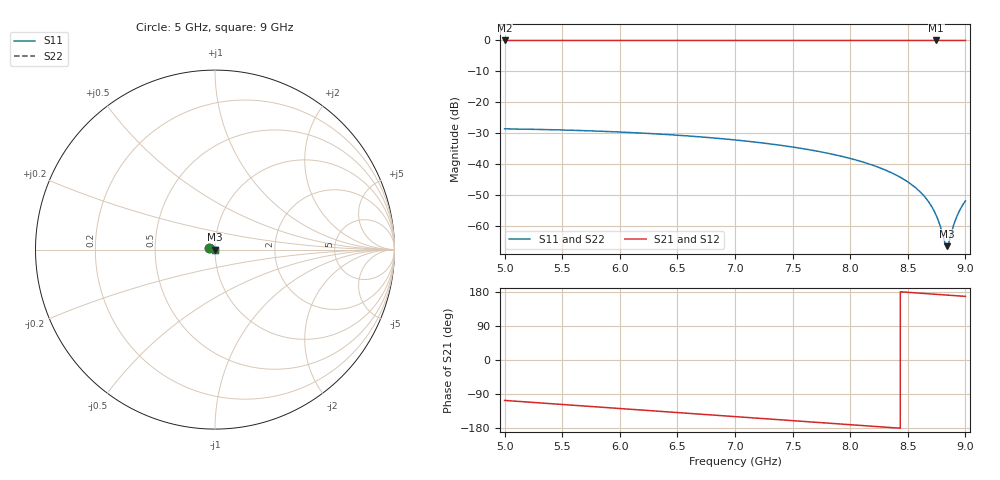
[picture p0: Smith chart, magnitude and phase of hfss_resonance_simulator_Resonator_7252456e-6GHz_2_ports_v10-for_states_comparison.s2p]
! Touchstone file exported from HFSS 2024.1.0
!  File:  C:/Users/phobo/Documents/Ansoft/hfss_resonance_simulator.aedt
!  Generated:  07:36:15 AM May 30, 2025
!  Design:  Resonator_7252456e-6GHz_2_ports_v10
!  Project:  hfss_resonance_simulator
!  Setup:  Setup1
!  Solution:  Sweep
# GHz S MA R 50.000000
! Terminal data exported
! Port[1] = 1
! Port[2] = 2
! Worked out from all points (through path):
!   5001 points, 5 GHz to 9 GHz, reference 50 ohm
!   highest |S21| = 0.00 dB at 8.747 GHz (marker M1); lowest = 0.0 dB at 5 GHz (marker M2)
!   group delay of S21, straight-line fit = 59.3 ps
!   lowest |S11| = -66.5 dB at 8.838 GHz (marker M3), VSWR 1.00, Z = 50 - j0.00704 ohm
!   |S11| at or under -10 dB: start of sweep to end of sweep
!   |S22| runs from -66.1 to -28.6 dB; largest |S21 - S12| = 3e-09
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5  0.03721 162.8  0.9993 -106.7  0.9993 -106.7  0.03721 163.9
! Gamma 0 0 0 0
! Port Impedance 50 0 50 0
5.6672  0.03495 148.4  0.9994 -120.9  0.9994 -120.9  0.03494 149.8
6.3336  0.03073 134.0  0.9995 -135.1  0.9995 -135.1  0.03074 135.8
7  0.02464 119.5  0.9997 -149.4  0.9997 -149.4  0.02464 121.8
7.3568  0.02065 111.6  0.9998 -157.0  0.9998 -157.0  0.02065 114.4
7.6672  0.01682 104.7  0.9999 -163.6  0.9999 -163.6  0.01682 108.1
8.0448  0.01175 95.8  0.9999 -171.7  0.9999 -171.7  0.01175 100.8
8.3336  0.007622 88.4  1 -177.8  1 -177.8  0.00763 96.1
8.4784  0.005488 83.9  1 179.1  1 179.1  0.005499 94.5
8.5928  0.00378 79.2  1 176.6  1 176.6  0.003794 94.4
8.6808  0.002462 73.5  1 174.7  1 174.7  0.002478 96.6
8.7168  0.001926 69.6  1 174.0  1 174.0  0.001943 99.1
8.7472  0.00148 64.5  1 173.3  1 173.3  0.001498 103.0
8.7776  0.001049 55.7  1 172.7  1 172.7  0.001069 110.6
8.82  0.0005517 22.7  1 171.8  1 171.8  0.0005753 141.2
8.8384  0.0004721 -8.6  1 171.4  1 171.4  0.0004931 170.4
8.848  0.000494 -26.2  1 171.2  1 171.2  0.0005112 -173.0
8.8584  0.0005626 -42.2  1 170.9  1 170.9  0.0005749 -157.6
8.9  0.001059 -73.7  1 170.0  1 170.0  0.001061 -127.1
8.9312  0.001507 -82.6  1 169.4  1 169.4  0.001506 -119.1
8.9712  0.002105 -88.7  1 168.5  1 168.5  0.002104 -114.4
9  0.002542 -91.6  1 167.9  1 167.9  0.002542 -112.6
